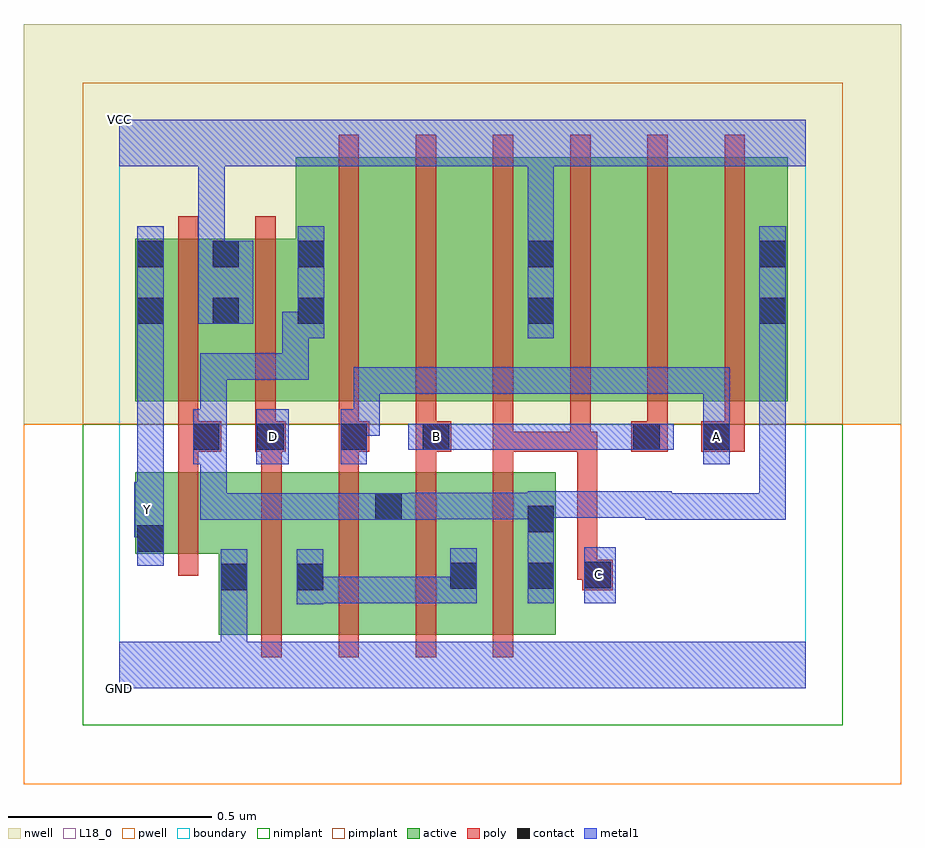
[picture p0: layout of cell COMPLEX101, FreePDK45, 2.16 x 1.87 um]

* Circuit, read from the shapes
.subckt COMPLEX101 A B C D GND VCC Y
M1 GND n1 Y VSUBS nfet w=0.2u l=0.05u
M2 n2 D GND VSUBS nfet w=0.4u l=0.05u
M3 n1 A n2 VSUBS nfet w=0.4u l=0.05u
M4 n2 B n1 VSUBS nfet w=0.4u l=0.05u
M5 n1 C n2 VSUBS nfet w=0.4u l=0.05u
M6 VCC n1 Y n3 pfet w=0.4u l=0.05u
M7 n1 D VCC n3 pfet w=0.4u l=0.05u
M8 n4 A n1 n3 pfet w=0.6u l=0.05u
M9 n5 B n4 n3 pfet w=0.6u l=0.05u
M10 VCC C n5 n3 pfet w=0.6u l=0.05u
M11 n6 C VCC n3 pfet w=0.6u l=0.05u
M12 n7 B n6 n3 pfet w=0.6u l=0.05u
M13 n1 A n7 n3 pfet w=0.6u l=0.05u
.ends

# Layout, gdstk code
import gdstk
lib = gdstk.Library(unit=1e-6, precision=1e-09)
def R(c, l, rs):  # rectangles x0, y0, x1, y1
    for r in rs: c.add(gdstk.rectangle(r[:2], r[2:], *l))
def A(c, l, x, y, w, h, nx, ny, dx, dy):  # array of equal rectangles
    R(c, l, [(x+i*dx, y+j*dy, x+i*dx+w, y+j*dy+h) for i in range(nx) for j in range(ny)])
active = (1, 0)
pwell = (2, 0)
nwell = (3, 0)
nimplant = (4, 0)
pimplant = (5, 0)
poly = (9, 0)
contact = (10, 0)
metal1 = (11, 0)
L18_0 = (18, 0)
boundary = (235, 0)

complex101 = lib.new_cell('COMPLEX101')
R(complex101, active, [(0.245,0.132,0.507,0.532), (0.432,0.132,0.7,0.532), (0.625,0.132,0.885,0.532), (0.81,0.132,1.075,0.532), (0.432,0.195,0.507,0.492), (0.625,0.195,0.7,0.492), (0.81,0.195,0.885,0.492), (1,0.195,1.075,0.532), (0.245,0.237,0.32,0.397), (0.04,0.332,0.32,0.532), (0.04,0.332,0.115,0.532), (0.04,0.707,0.3,1.107), (0.04,0.707,0.115,1.107), (0.225,0.707,0.51,1.107), (0.435,0.707,0.51,1.2), (0.435,0.707,0.66,1.307), (0.66,0.707,0.85,1.307), (0.85,0.707,1.075,1.307), (1,0.707,1.23,1.307), (1,0.707,1.075,1.307), (1.23,0.707,1.42,1.307), (1.42,0.707,1.645,1.307), (1.57,0.707,1.645,1.2), (0.225,0.802,0.3,1.107)])
R(complex101, pwell, [(-0.235,-0.235,1.925,0.65)])
R(complex101, nwell, [(-0.235,0.65,1.925,1.635)])
R(complex101, nimplant, [(-0.09,-0.09,1.78,0.65)])
R(complex101, pimplant, [(-0.09,0.65,1.78,1.49)])
A(complex101, poly, 0.35, 0.077, 0.05, 0.51, 4, 1, 0.19, 0)
A(complex101, poly, 0.35, 0.537, 0.05, 0.095, 4, 1, 0.19, 0)
A(complex101, poly, 0.54, 0.652, 0.05, 0.71, 6, 1, 0.19, 0)
R(complex101, poly, [(1.14,0.242,1.215,0.317), (1.127,0.267,1.177,0.632), (1.127,0.267,1.19,0.317), (1.14,0.267,1.19,0.317), (0.145,0.277,0.195,0.587), (0.145,0.537,0.195,0.632), (0.145,0.582,0.252,0.657), (0.335,0.582,0.41,0.657), (0.54,0.582,0.615,0.657), (0.73,0.582,0.817,0.657), (0.92,0.582,0.97,0.702), (0.92,0.582,0.97,0.632), (0.92,0.582,1.16,0.632), (1.11,0.582,1.16,0.702), (1.11,0.582,1.16,0.632), (1.11,0.582,1.16,0.632), (1.11,0.582,1.177,0.632), (1.26,0.582,1.35,0.657), (1.432,0.582,1.54,0.657), (0.145,0.607,0.195,0.702), (0.335,0.607,0.385,0.702), (0.54,0.607,0.59,0.702), (0.73,0.607,0.78,0.702), (1.3,0.607,1.35,0.702), (1.49,0.607,1.54,0.702), (0.145,0.652,0.195,1.162), (0.335,0.652,0.385,1.162)])
R(complex101, contact, [(0.25,0.242,0.315,0.307), (0.437,0.242,0.502,0.307), (0.815,0.245,0.88,0.31), (1.005,0.245,1.07,0.31), (1.145,0.247,1.21,0.312), (0.045,0.337,0.11,0.402), (1.005,0.385,1.07,0.45), (0.63,0.415,0.695,0.48), (0.182,0.587,0.247,0.652), (0.34,0.587,0.405,0.652), (0.545,0.587,0.61,0.652), (0.747,0.587,0.812,0.652), (1.265,0.587,1.33,0.652), (1.437,0.587,1.502,0.652), (0.045,0.897,0.11,0.962), (0.23,0.897,0.295,0.962), (0.44,0.897,0.505,0.962), (1.005,0.897,1.07,0.962), (1.575,0.897,1.64,0.962), (0.045,1.037,0.11,1.102), (0.23,1.037,0.295,1.102), (0.44,1.037,0.505,1.102), (1.005,1.037,1.07,1.102), (1.575,1.037,1.64,1.102)])
R(complex101, metal1, [(0,0,1.69,0.115), (0.25,0.05,0.315,0.272), (0.25,0.207,0.315,0.272), (0.25,0.207,0.315,0.272), (0.25,0.207,0.315,0.342), (0.437,0.207,0.502,0.342), (0.437,0.21,0.64,0.275), (0.575,0.21,0.64,0.275), (0.575,0.21,0.64,0.275), (0.575,0.21,0.64,0.275), (0.575,0.21,0.88,0.275), (0.815,0.21,0.88,0.275), (0.815,0.21,0.88,0.275), (0.815,0.21,0.88,0.345), (1.005,0.21,1.07,0.485), (1.145,0.21,1.222,0.347), (0.045,0.302,0.11,0.437), (0.037,0.372,0.11,0.507), (0.045,0.372,0.11,0.437), (0.2,0.415,0.265,0.48), (0.2,0.415,0.402,0.48), (0.2,0.415,0.265,0.617), (0.337,0.415,0.402,0.48), (0.337,0.415,0.402,0.48), (0.337,0.415,0.402,0.48), (0.337,0.415,0.605,0.48), (0.54,0.415,0.605,0.48), (0.54,0.415,0.66,0.48), (0.595,0.415,0.73,0.48), (0.665,0.415,0.777,0.48), (0.712,0.415,0.777,0.482), (1.295,0.415,1.502,0.48), (1.295,0.415,1.36,0.485), (1.437,0.415,1.502,0.48), (1.437,0.415,1.64,0.48), (1.575,0.415,1.64,0.927), (1.575,0.415,1.64,0.48), (1.575,0.415,1.64,0.48), (1.575,0.415,1.64,0.48), (1.575,0.415,1.64,0.48), (1.575,0.415,1.64,0.48), (0.712,0.417,0.867,0.482), (0.802,0.417,0.867,0.482), (0.802,0.417,1.017,0.482), (0.952,0.417,1.017,0.482), (0.952,0.417,1.07,0.482), (1.005,0.42,1.157,0.485), (1.092,0.42,1.157,0.485), (1.092,0.42,1.36,0.485), (1.295,0.42,1.36,0.485), (1.295,0.42,1.36,0.485), (0.045,0.442,0.11,0.927), (0.182,0.552,0.247,0.687), (0.182,0.552,0.265,0.617), (0.2,0.552,0.265,0.617), (0.2,0.552,0.265,0.825), (0.337,0.552,0.417,0.687), (0.545,0.552,0.61,0.687), (1.437,0.552,1.502,0.687), (0.712,0.587,0.847,0.652), (0.782,0.587,0.882,0.652), (0.817,0.587,0.882,0.652), (0.817,0.587,1.017,0.652), (0.952,0.587,1.017,0.652), (0.952,0.587,1.157,0.652), (1.092,0.587,1.157,0.652), (1.092,0.587,1.157,0.652), (1.092,0.587,1.157,0.652), (1.092,0.587,1.295,0.652), (1.23,0.587,1.295,0.652), (1.23,0.587,1.295,0.652), (1.23,0.587,1.365,0.652), (0.545,0.622,0.642,0.687), (0.577,0.622,0.642,0.687), (0.577,0.622,0.642,0.79), (1.437,0.622,1.502,0.687), (1.437,0.622,1.502,0.687), (1.437,0.622,1.502,0.79), (0.577,0.725,0.642,0.79), (0.577,0.725,0.867,0.79), (0.802,0.725,0.867,0.79), (0.802,0.725,0.867,0.79), (0.802,0.725,0.867,0.79), (0.802,0.725,1.02,0.79), (0.955,0.725,1.02,0.79), (0.955,0.725,1.02,0.79), (0.955,0.725,1.02,0.79), (0.955,0.725,1.157,0.79), (1.092,0.725,1.157,0.79), (1.092,0.725,1.295,0.79), (1.23,0.725,1.295,0.79), (1.23,0.725,1.295,0.79), (1.23,0.725,1.295,0.79), (1.23,0.725,1.502,0.79), (1.437,0.725,1.502,0.79), (0.2,0.76,0.265,0.825), (0.2,0.76,0.467,0.825), (0.402,0.76,0.467,0.927), (0.045,0.862,0.11,1.137), (0.402,0.862,0.505,0.927), (0.44,0.862,0.505,1.137), (1.005,0.862,1.07,1.137), (1.575,0.862,1.64,1.137), (0.195,0.897,0.33,1.102), (0.195,1.037,0.26,1.35), (1.005,1.072,1.07,1.35), (0,1.285,1.69,1.4), (0.195,1.285,0.26,1.35), (0.195,1.285,0.26,1.35)])
R(complex101, L18_0, [(0,0,1.69,0.115), (0.25,0.05,0.315,0.272), (0.25,0.207,0.315,0.342), (0.25,0.207,0.315,0.272), (0.25,0.207,0.315,0.272), (1.145,0.21,1.222,0.347), (1.147,0.247,1.212,0.312), (0.045,0.302,0.11,0.437), (0.037,0.372,0.11,0.507), (0.045,0.372,0.11,0.437), (0.037,0.407,0.102,0.472), (0.045,0.442,0.11,0.927), (0.337,0.552,0.417,0.687), (0.545,0.552,0.61,0.687), (1.437,0.552,1.502,0.687), (0.347,0.587,0.412,0.652), (0.712,0.587,0.847,0.652), (0.747,0.587,0.812,0.652), (0.782,0.587,0.882,0.652), (0.817,0.587,0.882,0.652), (0.817,0.587,1.017,0.652), (0.952,0.587,1.017,0.652), (0.952,0.587,1.157,0.652), (1.092,0.587,1.157,0.652), (1.092,0.587,1.157,0.652), (1.092,0.587,1.157,0.652), (1.092,0.587,1.295,0.652), (1.23,0.587,1.295,0.652), (1.23,0.587,1.295,0.652), (1.23,0.587,1.365,0.652), (1.437,0.587,1.502,0.652), (0.545,0.622,0.642,0.687), (0.577,0.622,0.642,0.687), (0.577,0.622,0.642,0.79), (1.437,0.622,1.502,0.687), (1.437,0.622,1.502,0.687), (1.437,0.622,1.502,0.79), (0.577,0.725,0.642,0.79), (0.577,0.725,0.867,0.79), (0.802,0.725,0.867,0.79), (0.802,0.725,0.867,0.79), (0.802,0.725,0.867,0.79), (0.802,0.725,1.02,0.79), (0.955,0.725,1.02,0.79), (0.955,0.725,1.02,0.79), (0.955,0.725,1.02,0.79), (0.955,0.725,1.157,0.79), (1.092,0.725,1.157,0.79), (1.092,0.725,1.295,0.79), (1.23,0.725,1.295,0.79), (1.23,0.725,1.295,0.79), (1.23,0.725,1.295,0.79), (1.23,0.725,1.502,0.79), (1.437,0.725,1.502,0.79), (0.045,0.862,0.11,1.137), (1.005,0.862,1.07,1.137), (0.195,0.897,0.33,1.102), (0.195,1.037,0.26,1.35), (1.005,1.072,1.07,1.35), (0,1.285,1.69,1.4), (0.195,1.285,0.26,1.35), (0.195,1.285,0.26,1.35)])
R(complex101, boundary, [(0,0,1.69,1.4)])
complex101.add(gdstk.Label('A', (1.47,0.62), layer=11, texttype=0))
complex101.add(gdstk.Label('B', (0.78,0.62), layer=11, texttype=0))
complex101.add(gdstk.Label('C', (1.18,0.28), layer=11, texttype=0))
complex101.add(gdstk.Label('D', (0.38,0.62), layer=11, texttype=0))
complex101.add(gdstk.Label('Y', (0.07,0.44), layer=11, texttype=0))
complex101.add(gdstk.Label('VCC', (0,1.4), layer=11, texttype=0))
complex101.add(gdstk.Label('GND', (0,0), layer=11, texttype=0))

lib.write_gds('COMPLEX101.gds')
